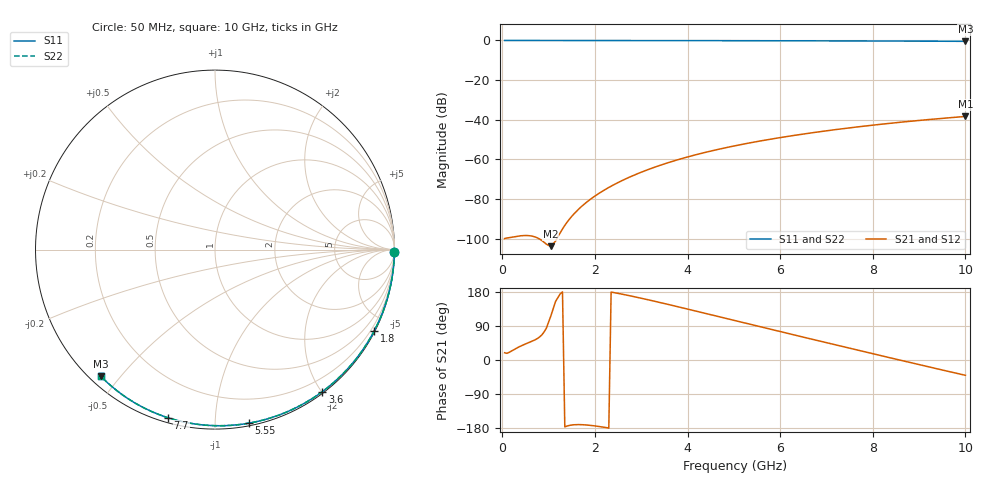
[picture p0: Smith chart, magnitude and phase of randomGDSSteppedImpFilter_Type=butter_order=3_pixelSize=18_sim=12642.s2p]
! freq	dB(S11)	phase(S11)	dB(S12)	phase(S12)
!  dB(S21)	phase(S21)	dB(S22)	phase(S22)
!S-par simulation data
#  GHz  S  DB  R 50
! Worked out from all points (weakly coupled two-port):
!   200 points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, 50 MHz to 10 GHz, reference 50 ohm
!   highest |S21| = -38.31 dB at 10 GHz (marker M1); lowest = -103.7 dB at 1.05 GHz (marker M2)
!   lowest |S11| = -0.4 dB at 10 GHz (marker M3), VSWR 39.00, Z = 1.54 - j22.2 ohm
!   |S11| at or under -10 dB: nowhere
!   |S22| runs from -0.4 to 0.0 dB; largest |S21 - S12| = 0
!   S11 on the Smith chart (normalised r, x): 50 MHz: open; 1.8 GHz: 0.04, -4.15; 3.6 GHz: 0.02, -2.01; 5.55 GHz: 0.02, -1.21; 7.7 GHz: 0.02, -0.76; 10 GHz: 0.03, -0.44
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0.05  -0.00 -0.8  -99.89 19.2  -99.89 19.2  -0.00 -0.8
0.55  -0.01 -8.4  -98.37 44.7  -98.37 44.7  -0.01 -8.4
1.05  -0.02 -15.9  -103.72 116.7  -103.72 116.7  -0.02 -15.9
1.75  -0.03 -26.3  -82.91 -170.9  -82.91 -170.9  -0.03 -26.3
1.8  -0.03 -27.1  -81.93 -171.3  -81.93 -171.3  -0.03 -27.1
1.9  -0.04 -28.6  -80.12 -172.4  -80.12 -172.4  -0.04 -28.6
2.25  -0.04 -33.7  -74.77 -178.6  -74.77 -178.6  -0.04 -33.7
2.55  -0.05 -38.0  -71.05 174.6  -71.05 174.6  -0.05 -38.0
2.95  -0.06 -43.8  -66.90 164.4  -66.90 164.4  -0.06 -43.8
3.4  -0.07 -50.1  -63.01 151.9  -63.01 151.9  -0.07 -50.1
3.6  -0.07 -52.9  -61.48 146.1  -61.48 146.1  -0.07 -52.9
3.9  -0.08 -57.1  -59.39 137.4  -59.39 137.4  -0.08 -57.1
4.3  -0.09 -62.6  -56.91 125.5  -56.91 125.5  -0.09 -62.6
5.05  -0.11 -72.6  -52.98 103.1  -52.98 103.1  -0.11 -72.6
5.55  -0.13 -79.1  -50.76 88.3  -50.76 88.3  -0.13 -79.1
6.1  -0.15 -86.1  -48.60 72.0  -48.60 72.0  -0.15 -86.1
6.7  -0.18 -93.5  -46.51 54.5  -46.51 54.5  -0.18 -93.5
7.2  -0.21 -99.6  -44.94 39.9  -44.94 39.9  -0.21 -99.6
7.7  -0.24 -105.6  -43.50 25.3  -43.50 25.3  -0.24 -105.6
8.35  -0.29 -113.2  -41.82 6.5  -41.82 6.5  -0.29 -113.2
9.15  -0.36 -122.4  -40.00 -16.4  -40.00 -16.4  -0.36 -122.4
10  -0.45 -132.1  -38.31 -40.4  -38.31 -40.4  -0.45 -132.1
